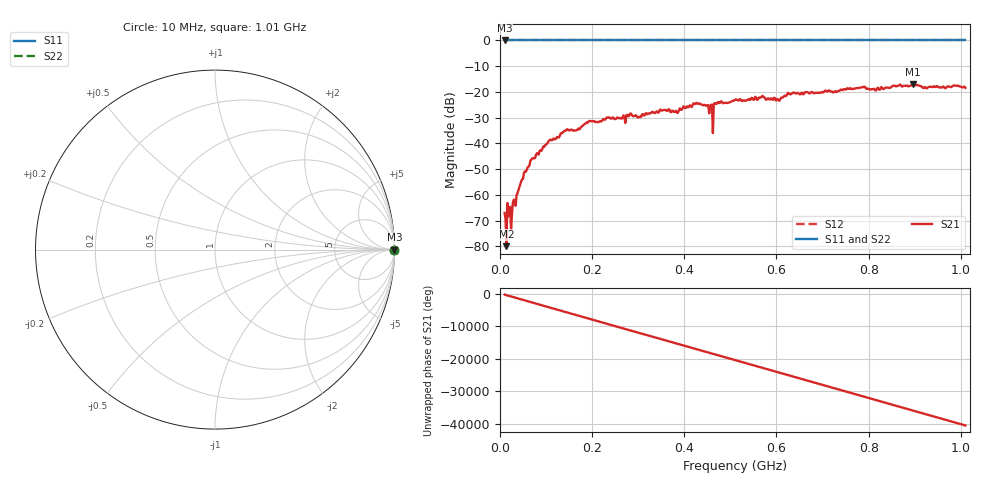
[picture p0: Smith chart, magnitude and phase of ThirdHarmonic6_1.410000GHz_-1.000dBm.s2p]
! 8/16/2025 4:09:58 PM
! C:\ANRITSUVNA\TEMP\TEMP.S2P
! CHANNEL.1
! TR.MEASUREMENT
! RAW.DATA
! RF.CORRECTION.OFF
! AVERAGING.OFF
! IF.BANDWIDTH: 5KHZ
! SWEEPTYPE:  FREQ.SWEEP(Linear)
! Reference Plane Port Info
! PORT:  PORT1  PORT2
! DISTANCE:  0  m  0  m
! TIME:  0  s  0  s
! PHASE.OFFSET:  0  deg.  0  deg.
! LOSS:  0  dB  0  dB
! REF.LOSS:  0  dB  0  dB
! REF.FREQ:  0  Hz  0  Hz
! Power Info
! POWER:  -20  dBm  -20  dBm
! EFF.POWER:  -20  dBm  -20  dBm
! SOURCE.ATTEN:  0  dB  0  dB
! TEST.ATTEN:  0  dB  0  dB
# GHZ S RI R 50.0
! FREQ.GHZ  S11RE  S11IM  S21RE  S21IM  S12RE  S12IM  S22RE  S22IM
!; PortSelection: Port_12
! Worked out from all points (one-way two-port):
!   501 points, 10 MHz to 1.01 GHz, reference 50 ohm
!   highest |S21| = -17.11 dB at 896 MHz (marker M1); lowest = -79.9 dB at 14 MHz (marker M2)
!   lowest |S11| = 0.0 dB at 10 MHz (marker M3)
!   |S11| at or under -10 dB: nowhere
!   |S22| runs from 0.0 to 0.0 dB; largest |S21 - S12| = 1.1
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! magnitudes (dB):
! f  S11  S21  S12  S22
! 10 MHz  0.0  -67.0  0.0  0.0
! 14 MHz  0.0  -79.9  0.0  0.0
! 22 MHz  0.0  -64.6  0.0  0.0
! 50 MHz  0.0  -53.8  0.0  0.0
! 70 MHz  0.0  -45.8  0.0  0.0
! 108 MHz  0.0  -38.7  0.0  0.0
! 178 MHz  0.0  -33.4  0.0  0.0
! 234 MHz  0.0  -30.1  0.0  0.0
! 344 MHz  0.0  -28.1  0.0  0.0
! 382 MHz  0.0  -27.4  0.0  0.0
! 430 MHz  0.0  -24.6  0.0  0.0
! 456 MHz  0.0  -25.4  0.0  0.0
! 458 MHz  0.0  -25.1  0.0  0.0
! 466 MHz  0.0  -24.3  0.0  0.0
! 468 MHz  0.0  -24.6  0.0  0.0
! 510 MHz  0.0  -23.1  0.0  0.0
! 602 MHz  0.0  -22.7  0.0  0.0
! 628 MHz  0.0  -20.8  0.0  0.0
! 678 MHz  0.0  -20.1  0.0  0.0
! 844 MHz  0.0  -18.4  0.0  0.0
! 896 MHz  0.0  -17.1  0.0  0.0
! 1.01 GHz  0.0  -18.4  0.0  0.0
